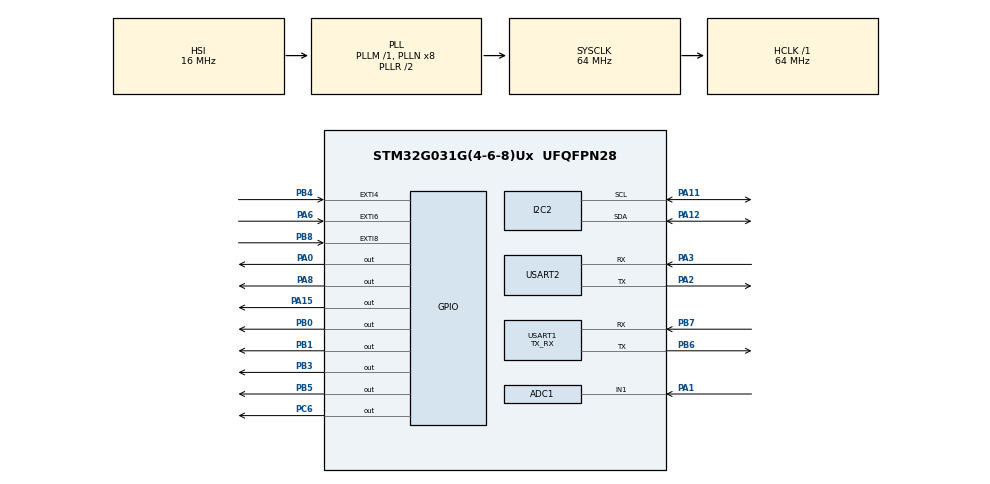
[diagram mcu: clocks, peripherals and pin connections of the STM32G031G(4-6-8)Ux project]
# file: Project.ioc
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ADC1.Channel-4\#ChannelRegularConversion=ADC_CHANNEL_1
ADC1.NbrOfConversionFlag=1
ADC1.Rank-4\#ChannelRegularConversion=1
ADC1.SamplingTime-4\#ChannelRegularConversion=ADC_SAMPLINGTIME_COMMON_1
ADC1.SelectedChannel=ADC_CHANNEL_1
ADC1.master=1
I2C2.Timing=0x10707DBC
Mcu.Family=STM32G0
Mcu.Name=STM32G031G(4-6-8)Ux
Mcu.Package=UFQFPN28
NVIC.EXTI4_15_IRQn=true\:0\:0\:false\:false\:true\:true\:true
NVIC.TIM2_IRQn=true\:0\:0\:true\:false\:true\:true\:true
NVIC.USART2_IRQn=true\:0\:0\:false\:false\:true\:true\:true
PA0.GPIO_ModeDefaultOutputPP=GPIO_MODE_OUTPUT_PP
PA0.GPIO_PuPd=GPIO_PULLUP
PA0.GPIO_Speed=GPIO_SPEED_FREQ_HIGH
PA0.PinState=GPIO_PIN_RESET
PA0.Signal=GPIO_Output
PA1.Signal=SharedAnalog_PA1
PA11\ [PA9].GPIO_Pu=GPIO_PULLUP
PA11\ [PA9].Mode=I2C
PA11\ [PA9].Signal=I2C2_SCL
PA12\ [PA10].GPIO_Pu=GPIO_PULLUP
PA12\ [PA10].Mode=I2C
PA12\ [PA10].Signal=I2C2_SDA
PA13.Mode=Serial_Wire
PA13.Signal=SYS_SWDIO
PA14-BOOT0.Mode=Serial_Wire
PA14-BOOT0.Signal=SYS_SWCLK
PA15.GPIO_ModeDefaultOutputPP=GPIO_MODE_OUTPUT_PP
PA15.GPIO_PuPd=GPIO_PULLDOWN
PA15.GPIO_Speed=GPIO_SPEED_FREQ_HIGH
PA15.PinState=GPIO_PIN_SET
PA15.Signal=GPIO_Output
PA2.Mode=Asynchronous
PA2.PinState=GPIO_PIN_SET
PA2.Signal=USART2_TX
PA3.Mode=Asynchronous
PA3.PinState=GPIO_PIN_SET
PA3.Signal=USART2_RX
PA6.GPIO_ModeDefaultEXTI=GPIO_MODE_IT_RISING_FALLING
PA6.GPIO_PuPd=GPIO_NOPULL
PA6.Signal=GPXTI6
PA8.GPIO_PuPd=GPIO_PULLDOWN
PA8.GPIO_Speed=GPIO_SPEED_FREQ_HIGH
PA8.PinState=GPIO_PIN_SET
PA8.Signal=GPIO_Output
PB0.GPIO_PuPd=GPIO_PULLUP
PB0.GPIO_Speed=GPIO_SPEED_FREQ_HIGH
PB0.PinState=GPIO_PIN_SET
PB0.Signal=GPIO_Output
PB1.GPIO_ModeDefaultOutputPP=GPIO_MODE_OUTPUT_PP
PB1.GPIO_PuPd=GPIO_PULLDOWN
PB1.GPIO_Speed=GPIO_SPEED_FREQ_HIGH
PB1.PinState=GPIO_PIN_SET
PB1.Signal=GPIO_Output
PB3.GPIO_ModeDefaultOutputPP=GPIO_MODE_OUTPUT_PP
PB3.GPIO_PuPd=GPIO_PULLUP
PB3.GPIO_Speed=GPIO_SPEED_FREQ_HIGH
PB3.PinState=GPIO_PIN_SET
PB3.Signal=GPIO_Output
PB4.GPIO_ModeDefaultEXTI=GPIO_MODE_IT_RISING_FALLING
PB4.GPIO_PuPd=GPIO_PULLUP
PB4.Signal=GPXTI4
PB5.GPIO_ModeDefaultOutputPP=GPIO_MODE_OUTPUT_PP
PB5.GPIO_PuPd=GPIO_PULLDOWN
PB5.GPIO_Speed=GPIO_SPEED_FREQ_HIGH
PB5.PinState=GPIO_PIN_SET
PB5.Signal=GPIO_Output
PB6.Mode=Asynchronous
PB6.Signal=USART1_TX
PB7.Mode=Asynchronous
PB7.Signal=USART1_RX
PB8.GPIO_ModeDefaultEXTI=GPIO_MODE_IT_RISING_FALLING
PB8.GPIO_PuPd=GPIO_NOPULL
PB8.Signal=GPXTI8
PC6.GPIO_ModeDefaultOutputPP=GPIO_MODE_OUTPUT_PP
PC6.GPIO_PuPd=GPIO_PULLDOWN
PC6.GPIO_Speed=GPIO_SPEED_FREQ_HIGH
PC6.PinState=GPIO_PIN_SET
PC6.Signal=GPIO_Output
ProjectManager.HeapSize=0x200
ProjectManager.StackSize=0x400
ProjectManager.TargetToolchain=MDK-ARM V5.32
RCC.ADCFreq_Value=64000000
RCC.AHBFreq_Value=64000000
RCC.CortexFreq_Value=64000000
RCC.EXTERNAL_CLOCK_VALUE=12288000
RCC.HCLKFreq_Value=64000000
RCC.HSE_VALUE=8000000
RCC.HSI_VALUE=16000000
RCC.LSE_VALUE=32768
RCC.SYSCLKFreq_VALUE=64000000
RCC.SYSCLKSource=RCC_SYSCLKSOURCE_PLLCLK
RCC.VCOOutputFreq_Value=128000000
SH.SharedAnalog_PA1.0=GPIO_Analog
SH.SharedAnalog_PA1.1=ADC1_IN1,IN1
TIM2.AutoReloadPreload=TIM_AUTORELOAD_PRELOAD_ENABLE
TIM2.Period=999
TIM2.Prescaler=63999
USART1.Mode=MODE_TX_RX
USART1.RXFIFOThreshold=RXFIFO_THRESHOLD_FULL
USART1.TXFIFOThreshold=TXFIFO_THRESHOLD_EMPTY
USART1.VirtualMode-Asynchronous=VM_ASYNC
USART2.VirtualMode-Asynchronous=VM_ASYNC
VP_TIM2_VS_ClockSourceINT.Mode=Internal
board=custom

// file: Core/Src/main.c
/* USER CODE BEGIN Header */
/**
  ******************************************************************************
  * @file           : main.c
  * @brief          : Main program body
  ******************************************************************************
  * @attention
  *
  * <h2><center>&copy; Copyright (c) 2025 STMicroelectronics.
  * All rights reserved.</center></h2>
  *
  * This software component is licensed by ST under BSD 3-Clause license,
  * the "License"; You may not use this file except in compliance with the
  * License. You may obtain a copy of the License at:
  *                        opensource.org/licenses/BSD-3-Clause
  *
  ******************************************************************************
  */
/* USER CODE END Header */
#include "main.h"

/* USER CODE BEGIN Includes */
#include "common.h"
#include "charger.h"
#include "leds.h"
#include <stdio.h>
/* USER CODE END Includes */

ADC_HandleTypeDef hadc1;

I2C_HandleTypeDef hi2c2;

TIM_HandleTypeDef htim2;

UART_HandleTypeDef huart1;
UART_HandleTypeDef huart2;

/* USER CODE BEGIN PV */
uint8_t rx_data;
/* USER CODE END PV */

void SystemClock_Config(void);
static void MX_GPIO_Init(void);
static void MX_USART1_UART_Init(void);
static void MX_TIM2_Init(void);
static void MX_I2C2_Init(void);
static void MX_USART2_UART_Init(void);
static void MX_ADC1_Init(void);

int main(void)
{

  /* MCU Configuration--------------------------------------------------------*/

  /* Reset of all peripherals, Initializes the Flash interface and the Systick. */
  HAL_Init();

  /* USER CODE BEGIN Init */
  HAL_Delay(5000);
  /* USER CODE END Init */

  /* Configure the system clock */
  SystemClock_Config();

  /* Initialize all configured peripherals */
  MX_GPIO_Init();
  MX_USART1_UART_Init();
  MX_TIM2_Init();
  MX_I2C2_Init();
  MX_USART2_UART_Init();
  MX_ADC1_Init();
  /* USER CODE BEGIN 2 */
  project_version_printf();
  max77787_charger_t *charger = charger_create();

  if (HAL_TIM_Base_Start_IT(&htim2) != HAL_OK){
    /* Starting Error */
    Error_Handler();
  }

  //RT9426_Update_Info();
  rt9426_main();
  uart_process_init();
  HAL_UART_Receive_IT(&huart2, &rx_data, 1);
  //ds2488_main();

  /* USER CODE END 2 */

  /* Infinite loop */
  while (1)
  {

    /* USER CODE BEGIN 3 */

    charger_process(charger, NULL);
    hall_process(&hall);
    uart_process_analysis(&uart);
#if 0
    uint8_t buf[2];
    HAL_Delay(1000);
    HAL_ADC_MspDeInit(&hadc1);
    buf[0] = 0x55;buf[1] = 0xDE;
    printf("uart send=0x%02x\r\n", buf[0]);
    HAL_UART_Transmit(&huart2, buf, 1, HAL_MAX_DELAY);
    //led_control(LED_ALL_ON, LED_ON);
#endif
#if 0
    uint32_t adc_val = ADC_Read();
    printf("adc=%d\r\n", adc_val);
    #define VDDA_APPLI                       (3300UL)
    float   adc_voltage = 3.3f * adc_val /4095;
    printf("V==%f\r\n", adc_voltage);
#endif
//    led_control(LED_R, LED_ON);
//    HAL_Delay(1000);
    stm32_heartrate();

  }
  /* USER CODE END 3 */
}

void SystemClock_Config(void)
{
  RCC_OscInitTypeDef RCC_OscInitStruct = {0};
  RCC_ClkInitTypeDef RCC_ClkInitStruct = {0};
  RCC_PeriphCLKInitTypeDef PeriphClkInit = {0};

  /** Configure the main internal regulator output voltage
  */
  HAL_PWREx_ControlVoltageScaling(PWR_REGULATOR_VOLTAGE_SCALE1);
  /** Initializes the RCC Oscillators according to the specified parameters
  * in the RCC_OscInitTypeDef structure.
  */
  RCC_OscInitStruct.OscillatorType = RCC_OSCILLATORTYPE_HSI;
  RCC_OscInitStruct.HSIState = RCC_HSI_ON;
  RCC_OscInitStruct.HSIDiv = RCC_HSI_DIV1;
  RCC_OscInitStruct.HSICalibrationValue = RCC_HSICALIBRATION_DEFAULT;
  RCC_OscInitStruct.PLL.PLLState = RCC_PLL_ON;
  RCC_OscInitStruct.PLL.PLLSource = RCC_PLLSOURCE_HSI;
  RCC_OscInitStruct.PLL.PLLM = RCC_PLLM_DIV1;
  RCC_OscInitStruct.PLL.PLLN = 8;
  RCC_OscInitStruct.PLL.PLLP = RCC_PLLP_DIV2;
  RCC_OscInitStruct.PLL.PLLQ = RCC_PLLQ_DIV2;
  RCC_OscInitStruct.PLL.PLLR = RCC_PLLR_DIV2;
  if (HAL_RCC_OscConfig(&RCC_OscInitStruct) != HAL_OK)
  {
    Error_Handler();
  }
  /** Initializes the CPU, AHB and APB buses clocks
  */
  RCC_ClkInitStruct.ClockType = RCC_CLOCKTYPE_HCLK|RCC_CLOCKTYPE_SYSCLK
                              |RCC_CLOCKTYPE_PCLK1;
  RCC_ClkInitStruct.SYSCLKSource = RCC_SYSCLKSOURCE_PLLCLK;
  RCC_ClkInitStruct.AHBCLKDivider = RCC_SYSCLK_DIV1;
  RCC_ClkInitStruct.APB1CLKDivider = RCC_HCLK_DIV1;

  if (HAL_RCC_ClockConfig(&RCC_ClkInitStruct, FLASH_LATENCY_2) != HAL_OK)
  {
    Error_Handler();
  }
  /** Initializes the peripherals clocks
  */
  PeriphClkInit.PeriphClockSelection = RCC_PERIPHCLK_USART1|RCC_PERIPHCLK_ADC;
  PeriphClkInit.Usart1ClockSelection = RCC_USART1CLKSOURCE_PCLK1;
  PeriphClkInit.AdcClockSelection = RCC_ADCCLKSOURCE_SYSCLK;
  if (HAL_RCCEx_PeriphCLKConfig(&PeriphClkInit) != HAL_OK)
  {
    Error_Handler();
  }
}

static void MX_ADC1_Init(void)
{

  ADC_ChannelConfTypeDef sConfig = {0};

  /** Configure the global features of the ADC (Clock, Resolution, Data Alignment and number of conversion)
  */
  hadc1.Instance = ADC1;
  hadc1.Init.ClockPrescaler = ADC_CLOCK_SYNC_PCLK_DIV2;
  hadc1.Init.Resolution = ADC_RESOLUTION_12B;
  hadc1.Init.DataAlign = ADC_DATAALIGN_RIGHT;
  hadc1.Init.ScanConvMode = ADC_SCAN_DISABLE;
  hadc1.Init.EOCSelection = ADC_EOC_SINGLE_CONV;
  hadc1.Init.LowPowerAutoWait = DISABLE;
  hadc1.Init.LowPowerAutoPowerOff = DISABLE;
  hadc1.Init.ContinuousConvMode = DISABLE;
  hadc1.Init.NbrOfConversion = 1;
  hadc1.Init.DiscontinuousConvMode = DISABLE;
  hadc1.Init.ExternalTrigConv = ADC_SOFTWARE_START;
  hadc1.Init.ExternalTrigConvEdge = ADC_EXTERNALTRIGCONVEDGE_NONE;
  hadc1.Init.DMAContinuousRequests = DISABLE;
  hadc1.Init.Overrun = ADC_OVR_DATA_PRESERVED;
  hadc1.Init.SamplingTimeCommon1 = ADC_SAMPLETIME_1CYCLE_5;
  hadc1.Init.SamplingTimeCommon2 = ADC_SAMPLETIME_1CYCLE_5;
  hadc1.Init.OversamplingMode = DISABLE;
  hadc1.Init.TriggerFrequencyMode = ADC_TRIGGER_FREQ_HIGH;
  if (HAL_ADC_Init(&hadc1) != HAL_OK)
  {
    Error_Handler();
  }
  /** Configure Regular Channel
  */
  sConfig.Channel = ADC_CHANNEL_1;
  sConfig.Rank = ADC_REGULAR_RANK_1;
  sConfig.SamplingTime = ADC_SAMPLINGTIME_COMMON_1;
  if (HAL_ADC_ConfigChannel(&hadc1, &sConfig) != HAL_OK)
  {
    Error_Handler();
  }

}

static void MX_I2C2_Init(void)
{

  hi2c2.Instance = I2C2;
  hi2c2.Init.Timing = 0x10707DBC;
  hi2c2.Init.OwnAddress1 = 0;
  hi2c2.Init.AddressingMode = I2C_ADDRESSINGMODE_7BIT;
  hi2c2.Init.DualAddressMode = I2C_DUALADDRESS_DISABLE;
  hi2c2.Init.OwnAddress2 = 0;
  hi2c2.Init.OwnAddress2Masks = I2C_OA2_NOMASK;
  hi2c2.Init.GeneralCallMode = I2C_GENERALCALL_DISABLE;
  hi2c2.Init.NoStretchMode = I2C_NOSTRETCH_DISABLE;
  if (HAL_I2C_Init(&hi2c2) != HAL_OK)
  {
    Error_Handler();
  }
  /** Configure Analogue filter
  */
  if (HAL_I2CEx_ConfigAnalogFilter(&hi2c2, I2C_ANALOGFILTER_ENABLE) != HAL_OK)
  {
    Error_Handler();
  }
  /** Configure Digital filter
  */
  if (HAL_I2CEx_ConfigDigitalFilter(&hi2c2, 0) != HAL_OK)
  {
    Error_Handler();
  }

}

static void MX_TIM2_Init(void)
{

  TIM_ClockConfigTypeDef sClockSourceConfig = {0};
  TIM_MasterConfigTypeDef sMasterConfig = {0};

  htim2.Instance = TIM2;
  htim2.Init.Prescaler = 63999;
  htim2.Init.CounterMode = TIM_COUNTERMODE_UP;
  htim2.Init.Period = 9;
  htim2.Init.ClockDivision = TIM_CLOCKDIVISION_DIV1;
  htim2.Init.AutoReloadPreload = TIM_AUTORELOAD_PRELOAD_ENABLE;
  if (HAL_TIM_Base_Init(&htim2) != HAL_OK)
  {
    Error_Handler();
  }
  sClockSourceConfig.ClockSource = TIM_CLOCKSOURCE_INTERNAL;
  if (HAL_TIM_ConfigClockSource(&htim2, &sClockSourceConfig) != HAL_OK)
  {
    Error_Handler();
  }
  sMasterConfig.MasterOutputTrigger = TIM_TRGO_RESET;
  sMasterConfig.MasterSlaveMode = TIM_MASTERSLAVEMODE_DISABLE;
  if (HAL_TIMEx_MasterConfigSynchronization(&htim2, &sMasterConfig) != HAL_OK)
  {
    Error_Handler();
  }

}

static void MX_USART1_UART_Init(void)
{

  huart1.Instance = USART1;
  huart1.Init.BaudRate = 115200;
  huart1.Init.WordLength = UART_WORDLENGTH_8B;
  huart1.Init.StopBits = UART_STOPBITS_1;
  huart1.Init.Parity = UART_PARITY_NONE;
  huart1.Init.Mode = UART_MODE_TX_RX;
  huart1.Init.HwFlowCtl = UART_HWCONTROL_NONE;
  huart1.Init.OverSampling = UART_OVERSAMPLING_16;
  huart1.Init.OneBitSampling = UART_ONE_BIT_SAMPLE_DISABLE;
  huart1.Init.ClockPrescaler = UART_PRESCALER_DIV1;
  huart1.AdvancedInit.AdvFeatureInit = UART_ADVFEATURE_NO_INIT;
  if (HAL_UART_Init(&huart1) != HAL_OK)
  {
    Error_Handler();
  }
  if (HAL_UARTEx_SetTxFifoThreshold(&huart1, UART_TXFIFO_THRESHOLD_8_8) != HAL_OK)
  {
    Error_Handler();
  }
  if (HAL_UARTEx_SetRxFifoThreshold(&huart1, UART_RXFIFO_THRESHOLD_8_8) != HAL_OK)
  {
    Error_Handler();
  }
  if (HAL_UARTEx_DisableFifoMode(&huart1) != HAL_OK)
  {
    Error_Handler();
  }

}

static void MX_USART2_UART_Init(void)
{

  huart2.Instance = USART2;
  huart2.Init.BaudRate = 122400;
  huart2.Init.WordLength = UART_WORDLENGTH_8B;
  huart2.Init.StopBits = UART_STOPBITS_1;
  huart2.Init.Parity = UART_PARITY_NONE;
  huart2.Init.Mode = UART_MODE_TX_RX;
  huart2.Init.HwFlowCtl = UART_HWCONTROL_NONE;
  huart2.Init.OverSampling = UART_OVERSAMPLING_16;
  huart2.Init.OneBitSampling = UART_ONE_BIT_SAMPLE_DISABLE;
  huart2.Init.ClockPrescaler = UART_PRESCALER_DIV1;
  huart2.AdvancedInit.AdvFeatureInit = UART_ADVFEATURE_NO_INIT;
  if (HAL_UART_Init(&huart2) != HAL_OK)
  {
    Error_Handler();
  }

}

static void MX_GPIO_Init(void)
{
  GPIO_InitTypeDef GPIO_InitStruct = {0};

  /* GPIO Ports Clock Enable */
  __HAL_RCC_GPIOA_CLK_ENABLE();
  __HAL_RCC_GPIOB_CLK_ENABLE();
  __HAL_RCC_GPIOC_CLK_ENABLE();

  /*Configure GPIO pin Output Level */
  HAL_GPIO_WritePin(GPIOA, GPIO_PIN_0, GPIO_PIN_RESET);

  /*Configure GPIO pin Output Level */
  HAL_GPIO_WritePin(GPIOB, GPIO_PIN_0|GPIO_PIN_1|GPIO_PIN_3|GPIO_PIN_5, GPIO_PIN_SET);

  /*Configure GPIO pin Output Level */
  HAL_GPIO_WritePin(GPIOA, GPIO_PIN_8|GPIO_PIN_15, GPIO_PIN_SET);

  /*Configure GPIO pin Output Level */
  HAL_GPIO_WritePin(GPIOC, GPIO_PIN_6, GPIO_PIN_SET);

  /*Configure GPIO pin : PA0 */
  GPIO_InitStruct.Pin = GPIO_PIN_0;
  GPIO_InitStruct.Mode = GPIO_MODE_OUTPUT_PP;
  GPIO_InitStruct.Pull = GPIO_PULLUP;
  GPIO_InitStruct.Speed = GPIO_SPEED_FREQ_HIGH;
  HAL_GPIO_Init(GPIOA, &GPIO_InitStruct);

  /*Configure GPIO pin : PA6 */
  GPIO_InitStruct.Pin = GPIO_PIN_6;
  GPIO_InitStruct.Mode = GPIO_MODE_IT_RISING_FALLING;
  GPIO_InitStruct.Pull = GPIO_NOPULL;
  HAL_GPIO_Init(GPIOA, &GPIO_InitStruct);

  /*Configure GPIO pins : PB0 PB3 */
  GPIO_InitStruct.Pin = GPIO_PIN_0|GPIO_PIN_3;
  GPIO_InitStruct.Mode = GPIO_MODE_OUTPUT_PP;
  GPIO_InitStruct.Pull = GPIO_PULLUP;
  GPIO_InitStruct.Speed = GPIO_SPEED_FREQ_HIGH;
  HAL_GPIO_Init(GPIOB, &GPIO_InitStruct);

  /*Configure GPIO pins : PB1 PB5 */
  GPIO_InitStruct.Pin = GPIO_PIN_1|GPIO_PIN_5;
  GPIO_InitStruct.Mode = GPIO_MODE_OUTPUT_PP;
  GPIO_InitStruct.Pull = GPIO_PULLDOWN;
  GPIO_InitStruct.Speed = GPIO_SPEED_FREQ_HIGH;
  HAL_GPIO_Init(GPIOB, &GPIO_InitStruct);

  /*Configure GPIO pins : PA8 PA15 */
  GPIO_InitStruct.Pin = GPIO_PIN_8|GPIO_PIN_15;
  GPIO_InitStruct.Mode = GPIO_MODE_OUTPUT_PP;
  GPIO_InitStruct.Pull = GPIO_PULLDOWN;
  GPIO_InitStruct.Speed = GPIO_SPEED_FREQ_HIGH;
  HAL_GPIO_Init(GPIOA, &GPIO_InitStruct);

  /*Configure GPIO pin : PC6 */
  GPIO_InitStruct.Pin = GPIO_PIN_6;
  GPIO_InitStruct.Mode = GPIO_MODE_OUTPUT_PP;
  GPIO_InitStruct.Pull = GPIO_PULLDOWN;
  GPIO_InitStruct.Speed = GPIO_SPEED_FREQ_HIGH;
  HAL_GPIO_Init(GPIOC, &GPIO_InitStruct);

  /*Configure GPIO pin : PB4 */
  GPIO_InitStruct.Pin = GPIO_PIN_4;
  GPIO_InitStruct.Mode = GPIO_MODE_IT_RISING_FALLING;
  GPIO_InitStruct.Pull = GPIO_PULLUP;
  HAL_GPIO_Init(GPIOB, &GPIO_InitStruct);

  /*Configure GPIO pin : PB8 */
  GPIO_InitStruct.Pin = GPIO_PIN_8;
  GPIO_InitStruct.Mode = GPIO_MODE_IT_RISING_FALLING;
  GPIO_InitStruct.Pull = GPIO_NOPULL;
  HAL_GPIO_Init(GPIOB, &GPIO_InitStruct);

  /* EXTI interrupt init*/
  HAL_NVIC_SetPriority(EXTI4_15_IRQn, 0, 0);
  HAL_NVIC_EnableIRQ(EXTI4_15_IRQn);

}

void Error_Handler(void)
{
  __disable_irq();
  while (1)
  {
  }
}

/************************ (C) COPYRIGHT STMicroelectronics *****END OF FILE****/
